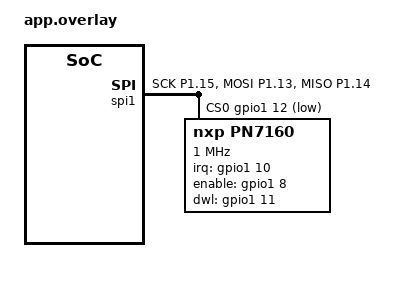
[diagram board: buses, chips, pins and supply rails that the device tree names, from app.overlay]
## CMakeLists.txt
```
#
# Copyright (c) 2023 Nordic Semiconductor
#
# SPDX-License-Identifier: LicenseRef-Nordic-5-Clause
#

cmake_minimum_required(VERSION 3.20.0)

find_package(Zephyr REQUIRED HINTS $ENV{ZEPHYR_BASE})
project(ipc_radio)

target_include_directories(app PRIVATE ./src)

target_sources_ifdef(CONFIG_IPC_RADIO_802154 app PRIVATE src/802154.c)

if(CONFIG_IPC_RADIO_BT_HCI_IPC)
  target_sources(app PRIVATE src/bt_hci_ipc.c)
else()
  target_sources(app PRIVATE src/bt_empty.c)
endif()

if(CONFIG_RADIO_TEST)
  target_sources(app PRIVATE 
    src/radio_cmd.c
    src/radio_test.c
  )
endif()

# NORDIC SDK APP START
target_sources(app PRIVATE
  src/main.c
)
# NORDIC SDK APP END
```

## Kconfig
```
#
# Copyright (c) 2023 Nordic Semiconductor
#
# SPDX-License-Identifier: LicenseRef-Nordic-5-Clause
#

mainmenu "Nordic ipc_radio firmware"

config IPC_RADIO_802154
	bool "IPC IEEE 802.15.4 radio"
	select NRF_802154_SER_RADIO
	help
	  Enable the IPC IEEE 802.15.4 radio serialization.

config IPC_RADIO_BT
	bool "IPC Bluetooth"
	help
	  Enable the IPC Bluetooth radio serialization.

config RADIO_TEST
	bool "Radio test"
	help
	  Enable the radio test.

if IPC_RADIO_BT

choice IPC_RADIO_BT_SER
	default IPC_RADIO_BT_HCI_IPC
	prompt "Bluetooth serialization type"
	help
	  Type of the IPC Bluetooth radio serialization used.

config IPC_RADIO_BT_HCI_IPC
	bool "Bluetooth HCI serialization"
	depends on IPC_SERVICE
	depends on IPC_SERVICE_BACKEND_ICBMSG || IPC_SERVICE_BACKEND_RPMSG
	depends on BT_HCI_RAW
	help
	  Use Bluetooth HCI serialization over ipc_service.

config IPC_RADIO_BT_RPC
	bool "Bluetooth host API serialization over RPC"
	depends on BT_RPC_HOST
	help
	  Use nRF RPC serialization for Bluetooth.

endchoice # IPC_RADIO_BT_SER

if IPC_RADIO_BT_HCI_IPC

config QUEUE_THREAD_STACK_SIZE
	int "Queue thread stack size"
	default 512
	help
	  Stack size for the queue thread.

config QUEUE_THREAD_PRIO
	int "Queue thread priority"
	default 7
	help
	  Priority for the queue thread.

endif # IPC_RADIO_BT_HCI_IPC

config SETTINGS
	imply ZMS if SOC_FLASH_NRF_MRAM
	imply NVS if !SOC_FLASH_NRF_MRAM

config BT_MAX_CONN
	default 4 if IPC_RADIO_802154
	default 16 if !IPC_RADIO_802154

endif # IPC_RADIO_BT

mainmenu "Nordic Radio test sample"

config RADIO_TEST_USB
	bool "Radio Test shell over USB CDC ACM class"
	depends on SOC_NRF5340_CPUNET
	select EXPERIMENTAL
	help
	  Use USB instead of UART as the Radio Test shell transport.
	  For nRF5340 the USB from application core is used as communication interface.

config RADIO_TEST_POWER_CONTROL_AUTOMATIC
	bool "Automatic power control"
	depends on FEM
	default y
	help
	  Set SoC output power and front-end module gain to achieve Tx output power requested
	  by user. If the exact value cannot be achieved, power is set to closest value which does
	  not exceed the limits. If this option is disabled, user has to set SoC output power and
	  fem gain with separate commands.

config RADIO_TEST_RX_TIMEOUT
	int "RX packet reception timeout"
	default 10
	help
	  Specifies the time in seconds that the application waits for the first packet to be
	  received in RX mode when a specified number of packets are set to be received.
	  If the timeout is reached before the first packet is received, the radio will be disabled.


module = IPC_RADIO
module-str = "ipc_radio"
source "${ZEPHYR_BASE}/subsys/logging/Kconfig.template.log_config"

source "Kconfig.zephyr"
```

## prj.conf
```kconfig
# SPI
CONFIG_SPI=y

# Shell:
CONFIG_SHELL=y
CONFIG_SHELL_THREAD_PRIORITY=0

# peripheral_uart
CONFIG_BT=y
CONFIG_BT_PERIPHERAL=y
CONFIG_BT_DEVICE_NAME="Nordic_UART_Service"
CONFIG_BT_MAX_CONN=1
CONFIG_BT_MAX_PAIRED=1

# Enable the NUS service
CONFIG_BT_NUS=y

# remote_shell
CONFIG_STDOUT_CONSOLE=y

CONFIG_SERIAL=y
CONFIG_UART_INTERRUPT_DRIVEN=y
CONFIG_RING_BUFFER=y

CONFIG_MBOX=y
CONFIG_IPC_SERVICE=y
CONFIG_IPC_SERVICE_BACKEND_RPMSG=y
CONFIG_IPC_SERVICE_BACKEND_RPMSG_NUM_ENDPOINTS_PER_INSTANCE=4

CONFIG_NRFX_UARTE0=y

CONFIG_HEAP_MEM_POOL_SIZE=4096

# Config logger
CONFIG_LOG=y
CONFIG_LOG_PRINTK=y
CONFIG_USE_SEGGER_RTT=y
CONFIG_LOG_BACKEND_RTT=y
CONFIG_LOG_BACKEND_UART=n

CONFIG_REMOTE_SHELL_TX_RING_BUFFER_SIZE=4096

CONFIG_SOC_NRF53_CPUNET_ENABLE=y
```

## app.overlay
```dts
/ {
    chosen {
        zephyr,console = &uart0;
        zephyr,shell-uart = &uart0;
        zephyr,shell-ipc = &ipc0;
        ncs,remote-shell-uart = &uart0;
    };
};

&pinctrl {
    spi1_default: spi1_default {
        group1 {
            psels = <NRF_PSEL(SPIM_SCK, 1, 15)>,
                    <NRF_PSEL(SPIM_MOSI, 1, 13)>,
                    <NRF_PSEL(SPIM_MISO, 1, 14)>;
        };
    };

    spi1_sleep: spi1_sleep {
        group1 {
            psels = <NRF_PSEL(SPIM_SCK, 1, 15)>,
                    <NRF_PSEL(SPIM_MOSI, 1, 13)>,
                    <NRF_PSEL(SPIM_MISO, 1, 14)>;
            low-power-enable;
        };
    };
};

&spi1 {
    status = "okay";
    compatible = "nordic,nrf-spim";
    pinctrl-0 = <&spi1_default>;
    pinctrl-1 = <&spi1_sleep>;
    pinctrl-names = "default", "sleep";

    /* CS 腳位定義: P1.12(PN7160) */
    cs-gpios = <&gpio1 12 GPIO_ACTIVE_LOW>;

    pn7160: pn7160@0 {
        compatible = "nxp,pn7160";
        status = "okay";
        reg = <0>;
        spi-max-frequency = <1000000>; /* 5MHz */

        irq-gpios = <&gpio1 10 GPIO_ACTIVE_HIGH>;
        enable-gpios = <&gpio1 8 GPIO_ACTIVE_HIGH>;
        dwl-gpios = <&gpio1 11 GPIO_ACTIVE_HIGH>;
    };
};
```

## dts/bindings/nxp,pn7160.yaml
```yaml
# hello_world/dts/bindings/nxp,pn7160.yaml

description: NXP PN7160 NFC Controller

compatible: "nxp,pn7160"

include: spi-device.yaml

properties:
  irq-gpios:
    type: phandle-array
    required: true
    description: Interrupt pin from PN7160 to Host (Input)

  enable-gpios:
    type: phandle-array
    required: true
    description: Enable/Reset pin from Host to PN7160 (Output)
    
  dwl-gpios:
    type: phandle-array
    required: true
    description: Enable pin to Enter Download mode (Input)
```

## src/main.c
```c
/*
 * Copyright (c) 2023 Nordic Semiconductor ASA
 *
 * SPDX-License-Identifier: LicenseRef-Nordic-5-Clause
 */

#include <errno.h>
#include <zephyr/drivers/clock_control.h>
#include <zephyr/drivers/clock_control/nrf_clock_control.h>
#include <zephyr/logging/log.h>
#include <zephyr/sys/printk.h>

#include "ipc_bt.h"
#if defined(NRF54L15_XXAA)
#include <hal/nrf_clock.h>
#endif /* defined(NRF54L15_XXAA) */
#if defined(CONFIG_CLOCK_CONTROL_NRF2)
#include <hal/nrf_lrcconf.h>
#endif
#include <nrf_erratas.h>
#if NRF54L_ERRATA_20_PRESENT
#include <hal/nrf_power.h>
#endif /* NRF54L_ERRATA_20_PRESENT */
#if defined(NRF54LM20A_ENGA_XXAA)
#include <hal/nrf_clock.h>
#endif /* defined(NRF54LM20A_ENGA_XXAA) */

LOG_MODULE_REGISTER(ipc_radio, CONFIG_IPC_RADIO_LOG_LEVEL);

#if !(CONFIG_IPC_RADIO_802154 || CONFIG_IPC_RADIO_BT)
#error "No radio serialization selected."
#endif

/* Empty trim value */
#define TRIM_VALUE_EMPTY 0xFFFFFFFF

#if defined(CONFIG_CLOCK_CONTROL_NRF)
static void clock_init(void) {
  int err;
  int res;
  struct onoff_manager* clk_mgr;
  struct onoff_client clk_cli;

  clk_mgr = z_nrf_clock_control_get_onoff(CLOCK_CONTROL_NRF_SUBSYS_HF);
  if (!clk_mgr) {
    printk("Unable to get the Clock manager\n");
    return;
  }

  sys_notify_init_spinwait(&clk_cli.notify);

  err = onoff_request(clk_mgr, &clk_cli);
  if (err < 0) {
    printk("Clock request failed: %d\n", err);
    return;
  }

  do {
    err = sys_notify_fetch_result(&clk_cli.notify, &res);
    if (!err && res) {
      printk("Clock could not be started: %d\n", res);
      return;
    }
  } while (err);

#if NRF54L_ERRATA_20_PRESENT
  if (nrf54l_errata_20()) {
    nrf_power_task_trigger(NRF_POWER, NRF_POWER_TASK_CONSTLAT);
  }
#endif /* NRF54L_ERRATA_20_PRESENT */

#if defined(NRF54LM20A_ENGA_XXAA)
  /* MLTPAN-39 */
  nrf_clock_task_trigger(NRF_CLOCK, NRF_CLOCK_TASK_PLLSTART);
#endif /* defined(NRF54LM20A_ENGA_XXAA) */

  printk("Clock has started\n");
}

#elif defined(CONFIG_CLOCK_CONTROL_NRF2)

static void clock_init(void) {
  int err;
  int res;
  const struct device* radio_clk_dev =
      DEVICE_DT_GET_OR_NULL(DT_CLOCKS_CTLR(DT_NODELABEL(radio)));
  struct onoff_client radio_cli;

  /** Keep radio domain powered all the time to reduce latency. */
  nrf_lrcconf_poweron_force_set(NRF_LRCCONF010, NRF_LRCCONF_POWER_DOMAIN_1,
                                true);

  sys_notify_init_spinwait(&radio_cli.notify);

  err = nrf_clock_control_request(radio_clk_dev, NULL, &radio_cli);

  do {
    err = sys_notify_fetch_result(&radio_cli.notify, &res);
    if (!err && res) {
      printk("Clock could not be started: %d\n", res);
      return;
    }
  } while (err == -EAGAIN);

#if NRF54L_ERRATA_20_PRESENT
  if (nrf54l_errata_20()) {
    nrf_power_task_trigger(NRF_POWER, NRF_POWER_TASK_CONSTLAT);
  }
#endif /* NRF54L_ERRATA_20_PRESENT */

  printk("Clock has started\n");
}

#if defined(CONFIG_SOC_SERIES_NRF54HX)
static void nrf54hx_radio_trim(void) {
  /* Apply HMPAN-102 workaround for nRF54H series */
  *(volatile uint32_t*)0x5302C7E4 =
      (((*((volatile uint32_t*)0x5302C7E4)) & 0xFF000FFF) | 0x0012C000);

  /* Apply HMPAN-18 workaround for nRF54H series - load trim values*/
  if (*(volatile uint32_t*)0x0FFFE458 != TRIM_VALUE_EMPTY) {
    *(volatile uint32_t*)0x5302C734 = *(volatile uint32_t*)0x0FFFE458;
  }

  if (*(volatile uint32_t*)0x0FFFE45C != TRIM_VALUE_EMPTY) {
    *(volatile uint32_t*)0x5302C738 = *(volatile uint32_t*)0x0FFFE45C;
  }

  if (*(volatile uint32_t*)0x0FFFE460 != TRIM_VALUE_EMPTY) {
    *(volatile uint32_t*)0x5302C73C = *(volatile uint32_t*)0x0FFFE460;
  }

  if (*(volatile uint32_t*)0x0FFFE464 != TRIM_VALUE_EMPTY) {
    *(volatile uint32_t*)0x5302C740 = *(volatile uint32_t*)0x0FFFE464;
  }

  if (*(volatile uint32_t*)0x0FFFE468 != TRIM_VALUE_EMPTY) {
    *(volatile uint32_t*)0x5302C74C = *(volatile uint32_t*)0x0FFFE468;
  }

  if (*(volatile uint32_t*)0x0FFFE46C != TRIM_VALUE_EMPTY) {
    *(volatile uint32_t*)0x5302C7D8 = *(volatile uint32_t*)0x0FFFE46C;
  }

  if (*(volatile uint32_t*)0x0FFFE470 != TRIM_VALUE_EMPTY) {
    *(volatile uint32_t*)0x5302C840 = *(volatile uint32_t*)0x0FFFE470;
  }

  if (*(volatile uint32_t*)0x0FFFE474 != TRIM_VALUE_EMPTY) {
    *(volatile uint32_t*)0x5302C844 = *(volatile uint32_t*)0x0FFFE474;
  }

  if (*(volatile uint32_t*)0x0FFFE478 != TRIM_VALUE_EMPTY) {
    *(volatile uint32_t*)0x5302C848 = *(volatile uint32_t*)0x0FFFE478;
  }

  if (*(volatile uint32_t*)0x0FFFE47C != TRIM_VALUE_EMPTY) {
    *(volatile uint32_t*)0x5302C84C = *(volatile uint32_t*)0x0FFFE47C;
  }

  /* Apply HMPAN-103 workaround for nRF54H series*/
  if ((*(volatile uint32_t*)0x5302C8A0 == 0x80000000) ||
      (*(volatile uint32_t*)0x5302C8A0 == 0x0058120E)) {
    *(volatile uint32_t*)0x5302C8A0 = 0x0058090E;
  }

  *(volatile uint32_t*)0x5302C8A4 = 0x00F8AA5F;
  *(volatile uint32_t*)0x5302C7AC = 0x8672827A;
  *(volatile uint32_t*)0x5302C7B0 = 0x7E768672;
  *(volatile uint32_t*)0x5302C7B4 = 0x0406007E;
}
#endif /* defined(CONFIG_SOC_SERIES_NRF54HX) */

#else
BUILD_ASSERT(false, "No Clock Control driver");
#endif /* defined(CONFIG_CLOCK_CONTROL_NRF) */

int main(void) {
  int err;

  clock_init();

  err = ipc_bt_init();
  if ((err) && (err != -ENOSYS)) {
    LOG_ERR("Error initializing ipc radio %d", err);
    return err;
  }

  for (;;) {
    err = ipc_bt_process();

    if (err == -ENOSYS) {
      /* Particular implementation does not need the process function */
      return 0;
    } else if (err) {
      LOG_ERR("Error processing ipc radio %d", err);
      return err;
    }
  }
}
```
